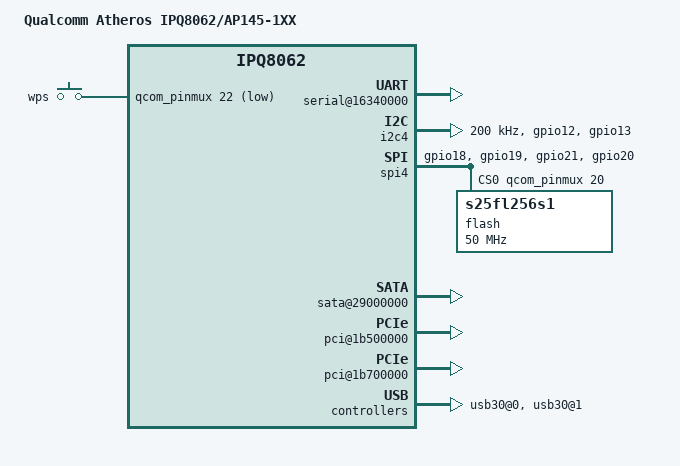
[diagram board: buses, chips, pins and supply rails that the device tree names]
/* Copyright (c) 2015-2016, The Linux Foundation. All rights reserved.
 *
 * Permission to use, copy, modify, and/or distribute this software for any
 * purpose with or without fee is hereby granted, provided that the above
 * copyright notice and this permission notice appear in all copies.
 *
 * THE SOFTWARE IS PROVIDED "AS IS" AND THE AUTHOR DISCLAIMS ALL WARRANTIES
 * WITH REGARD TO THIS SOFTWARE INCLUDING ALL IMPLIED WARRANTIES OF
 * MERCHANTABILITY AND FITNESS. IN NO EVENT SHALL THE AUTHOR BE LIABLE FOR
 * ANY SPECIAL, DIRECT, INDIRECT, OR CONSEQUENTIAL DAMAGES OR ANY DAMAGES
 * WHATSOEVER RESULTING FROM LOSS OF USE, DATA OR PROFITS, WHETHER IN AN
 * ACTION OF CONTRACT, NEGLIGENCE OR OTHER TORTIOUS ACTION, ARISING OUT OF
 * OR IN CONNECTION WITH THE USE OR PERFORMANCE OF THIS SOFTWARE.
 *
 */

#include <dt-bindings/interrupt-controller/arm-gic.h>
#include <dt-bindings/interrupt-controller/irq.h>
#include <dt-bindings/input/input.h>
#include <dt-bindings/gpio/gpio.h>

/ {
	model = "Qualcomm Atheros IPQ8062/AP145-1XX";
	compatible = "qcom,ipq8062-ap145_1xx", "qcom,ipq8062";

	aliases {
		serial0 = &uart4;
	};

	reserved-memory {
		#address-cells = <1>;
		#size-cells = <1>;
		ranges;
		rsvd@41200000 {
			reg = <0x41200000 0x300000>;
			no-map;
		};
	};

	cpus {
		#address-cells = <1>;
		#size-cells = <0>;

		cpu@0 {
			compatible = "qcom,krait";
			enable-method = "qcom,kpss-acc-v1";
			device_type = "cpu";

			operating-points-0-0 = <
				/* kHz      uV */
				1000000 1100000
				800000  1050000
				600000  1000000
				384000  950000
			>;
			operating-points-0-1 = <
				/* kHz      uV */
				1000000 1050000
				800000  1000000
				600000  950000
				384000  900000
			>;
			operating-points-0-2 = <
				/* kHz      uV */
				1000000 1000000
				800000  950000
				600000  900000
				384000  850000
			>;
			operating-points-0-3 = <
				/* kHz      uV */
				1000000  950000
				800000   900000
				600000   850000
				384000   800000
			>;

			clock-latency = <100000>;
			voltage-tolerance = <5>;

			cooling-min-state = <0>;
			cooling-max-state = <10>;
			#cooling-cells = <2>;
		};

		cpu@1 {
			compatible = "qcom,krait";
			enable-method = "qcom,kpss-acc-v1";
			device_type = "cpu";
			reg = <1>;
			qcom,acc = <&acc1>;
			qcom,saw = <&saw1>;
			core-supply = <&smb208_s2b>;
			clocks = <&kraitcc 1>;
			clock-names = "cpu";

			operating-points-0-0 = <
				/* kHz      uV */
				1000000 1100000
				800000  1050000
				600000  1000000
				384000  950000
			>;
			operating-points-0-1 = <
				/* kHz      uV */
				1000000 1050000
				800000  1000000
				600000  950000
				384000  900000
			>;
			operating-points-0-2 = <
				/* kHz      uV */
				1000000 1000000
				800000  950000
				600000  900000
				384000  850000
			>;
			operating-points-0-3 = <
				/* kHz      uV */
				1000000  950000
				800000   900000
				600000   850000
				384000   800000
			>;

			clock-latency = <100000>;

			cooling-min-state = <0>;
			cooling-max-state = <10>;
			#cooling-cells = <2>;
		};

		L2: l2-cache {
			compatible = "cache";
			cache-level = <2>;
			clocks = <&kraitcc 4>;
			clock-names = "cache";
			vdd_dig-supply = <&smb208_s1a>;
			cache-points-kHz = <
				/* kHz    uV    CPU kHz */
				1000000 1100000  600000
				384000  1100000  384000
			>;
		};

	};

	soc {
		pinmux@800000 {
			sdcc1_pins: sdcc1_pinmux {
				mux {
					pins = "gpio38", "gpio39", "gpio40",
					"gpio41", "gpio42", "gpio43",
					"gpio44", "gpio45", "gpio46",
					"gpio47";
					function = "sdc1";
				};
				cmd {
					pins = "gpio45";
					drive-strength = <10>;
					bias-pull-up;
				};
				data {
					pins = "gpio38", "gpio39", "gpio40",
					"gpio41", "gpio43", "gpio44",
					"gpio46", "gpio47";
					drive-strength = <10>;
					bias-pull-up;
				};
				clk {
					pins = "gpio42";
					drive-strength = <16>;
					bias-pull-down;
				};
			};

			i2c4_pins: i2c4_pinmux {
				pins = "gpio12", "gpio13";
				function = "gsbi4";
				bias-disable;
			};

			spi_pins: spi_pins {
				mux {
					pins = "gpio18", "gpio19", "gpio21";
					function = "gsbi5";
					drive-strength = <10>;
					bias-none;
				};
				cs {
					pins = "gpio20";
					drive-strength = <12>;
				};
			};
			nand_pins: nand_pins {
				mux {
					pins = "gpio34", "gpio35", "gpio36",
					       "gpio37", "gpio38", "gpio39",
					       "gpio40", "gpio41", "gpio42",
					       "gpio43", "gpio44", "gpio45",
					       "gpio46", "gpio47";
					function = "nand";
					drive-strength = <10>;
					bias-disable;
				};
				pullups {
					pins = "gpio39";
					bias-pull-up;
				};
				hold {
					pins = "gpio40", "gpio41", "gpio42",
						"gpio43", "gpio44", "gpio45",
						"gpio46", "gpio47";
					bias-bus-hold;
				};
			};
		};

		gsbi@16300000 {
			qcom,mode = <GSBI_PROT_I2C_UART>;
			status = "ok";
			serial@16340000 {
				status = "ok";
			};

			i2c4: i2c@16380000 {
				status = "ok";

				clock-frequency = <200000>;

				pinctrl-0 = <&i2c4_pins>;
				pinctrl-names = "default";
			};
		};

		gsbi5: gsbi@1a200000 {
			qcom,mode = <GSBI_PROT_SPI>;
			status = "ok";

			spi4: spi@1a280000 {
				status = "ok";
				spi-max-frequency = <50000000>;

				pinctrl-0 = <&spi_pins>;
				pinctrl-names = "default";

				cs-gpios = <&qcom_pinmux 20 0>;

				dmas = <&adm_dma 6 9>,
					<&adm_dma 5 10>;
				dma-names = "rx", "tx";

				flash: m25p80@0 {
					compatible = "s25fl256s1";
					#address-cells = <1>;
					#size-cells = <1>;
					spi-max-frequency = <50000000>;
					reg = <0>;
					m25p,fast-read;
				};
			};
		};

		sata-phy@1b400000 {
			status = "ok";
		};

		sata@29000000 {
			ports-implemented = <0x1>;
			status = "ok";
		};

		pci@1b500000 {
			status = "ok";
		};

		pci@1b700000 {
			status = "ok";
		};

		dma@18300000 {
			status = "ok";
		};

		phy@100f8800 {		/* USB3 port 1 HS phy */
			status = "ok";
		};

		phy@100f8830 {		/* USB3 port 1 SS phy */
			status = "ok";
		};

		phy@110f8800 {		/* USB3 port 0 HS phy */
			status = "ok";
		};

		phy@110f8830 {		/* USB3 port 0 SS phy */
			status = "ok";
		};

		usb30@0 {
			status = "ok";
		};

		usb30@1 {
			status = "ok";
		};

		gpio_keys {
			compatible = "gpio-keys";

			button@1 {
				label = "wps";
				linux,code = <KEY_WPS_BUTTON>;
				gpios = <&qcom_pinmux 22 GPIO_ACTIVE_LOW>;
				linux,input-type = <1>;
				debounce-interval = <60>;
			};
		};

		amba {
			/* eMMC */
			sdcc1: sdcc@12400000 {
				status = "ok";
				pinctrl-0 = <&sdcc1_pins>;
				pinctrl-names = "default";
			};
		};
	};
};
